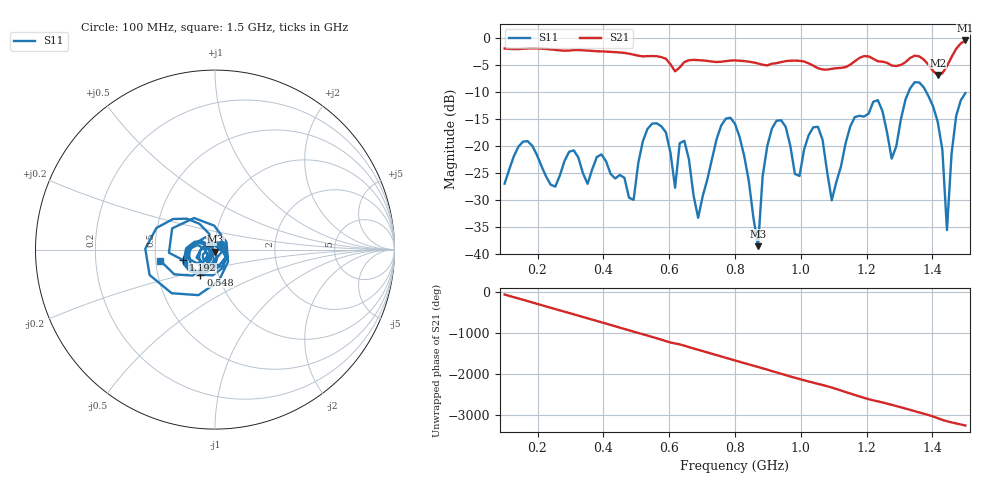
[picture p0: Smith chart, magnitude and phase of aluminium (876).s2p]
! NanoVNA-App
! Date: 2025-09-25 15:02:06
! Start: 100MHz Stop: 1,5GHz Points: 101
! S-Parameter data: F S11 S21 S12 S22
# Hz S RI R 50
!  Frequency  S11_Real  S11_Imag  S21_Real  S21_Imag  S12_Real  S12_Imag  S22_Real  S22_Imag
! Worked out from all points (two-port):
!   101 points, 100 MHz to 1.5 GHz, reference 50 ohm
!   highest |S21| = -0.43 dB at 1.5 GHz (marker M1); lowest = -6.8 dB at 1.416 GHz (marker M2)
!   |S21| within 3 dB of the highest: start of sweep to 568.9 MHz; 1.459 GHz to end of sweep (the widest 2 of 4)
!   lowest |S11| = -38.5 dB at 870 MHz (marker M3), VSWR 1.02, Z = 50.1 - j1.18 ohm
!   |S11| at or under -10 dB: start of sweep to 1.327 GHz; 1.381 GHz to end of sweep
!   S12 and S22 are empty: the file has one direction only
!   S11 on the Smith chart (normalised r, x): 100 MHz: 1.07, +0.06; 548 MHz: 0.82, -0.24; 1.192 GHz: 0.69, -0.08; 1.5 GHz: 0.53, -0.07
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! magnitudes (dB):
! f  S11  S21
! 100 MHz  -27.0  -1.9
! 156 MHz  -19.2  -2.0
! 338 MHz  -25.0  -2.2
! 492 MHz  -29.9  -3.1
! 548 MHz  -15.8  -3.3
! 576 MHz  -16.3  -3.5
! 618 MHz  -27.7  -6.1
! 646 MHz  -19.0  -4.4
! 688 MHz  -33.3  -4.1
! 800 MHz  -15.9  -4.1
! 870 MHz  -38.5  -4.7
! 912 MHz  -16.8  -4.7
! 996 MHz  -25.5  -4.2
! 1.038 GHz  -16.5  -5.1
! 1.094 GHz  -30.0  -5.7
! 1.192 GHz  -14.5  -3.3
! 1.276 GHz  -22.3  -5.1
! 1.346 GHz  -8.2  -3.2
! 1.416 GHz  -15.5  -6.8
! 1.444 GHz  -35.6  -5.2
! 1.472 GHz  -14.4  -2.0
! 1.5 GHz  -10.2  -0.4
